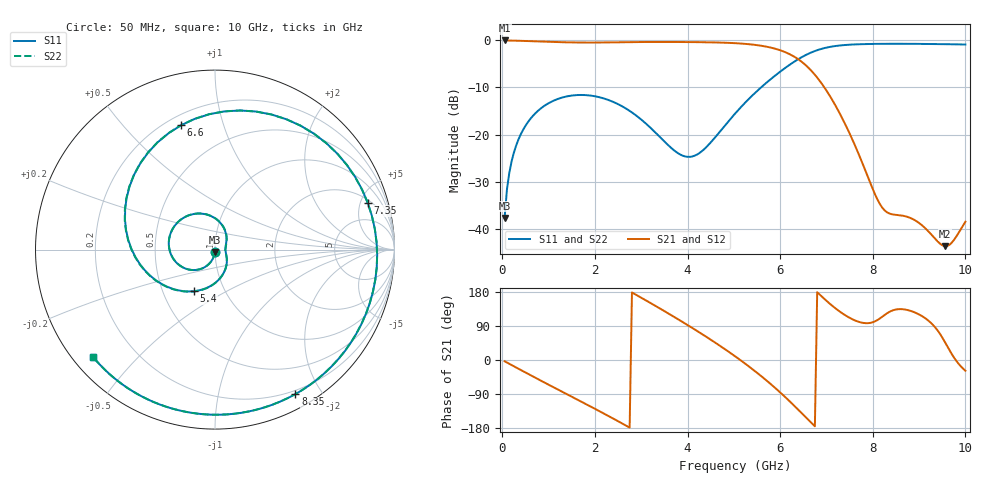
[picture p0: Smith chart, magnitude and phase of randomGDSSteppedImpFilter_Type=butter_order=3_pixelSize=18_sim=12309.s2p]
! freq	dB(S11)	phase(S11)	dB(S12)	phase(S12)
!  dB(S21)	phase(S21)	dB(S22)	phase(S22)
!S-par simulation data
#  GHz  S  DB  R 50
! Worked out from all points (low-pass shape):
!   200 points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, 50 MHz to 10 GHz, reference 50 ohm
!   highest |S21| = 0.00 dB at 50 MHz (marker M1); lowest = -43.7 dB at 9.55 GHz (marker M2)
!   |S21| within 3 dB of the highest: start of sweep to 6.222 GHz
!   lowest |S11| = -37.7 dB at 50 MHz (marker M3), VSWR 1.03, Z = 49.9 - j1.3 ohm
!   |S11| at or under -10 dB: start of sweep to 5.586 GHz
!   |S22| runs from -37.7 to -0.7 dB; largest |S21 - S12| = 0
!   S11 on the Smith chart (normalised r, x): 50 MHz: 1.00, -0.03; 5.4 GHz: 0.72, -0.36; 6.6 GHz: 0.26, +0.73; 7.35 GHz: 2.30, +5.78; 8.35 GHz: 0.16, -1.69; 10 GHz: 0.06, -0.38
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0.05  -37.71 -93.0  -0.00 -3.4  -0.00 -3.4  -37.71 -93.0
0.2  -25.74 -103.3  -0.03 -13.3  -0.03 -13.3  -25.74 -103.4
0.5  -18.14 -123.3  -0.11 -32.9  -0.11 -32.9  -18.15 -123.4
1.15  -12.62 -165.2  -0.34 -74.7  -0.34 -74.7  -12.62 -165.4
1.75  -11.59 156.9  -0.45 -112.7  -0.45 -112.7  -11.59 156.6
2.65  -14.35 98.7  -0.37 -171.6  -0.37 -171.6  -14.35 98.1
3.4  -20.49 47.7  -0.32 136.2  -0.32 136.2  -20.49 46.4
4.2  -24.28 -12.0  -0.36 77.2  -0.36 77.2  -24.27 -13.2
4.6  -20.55 -45.2  -0.42 45.7  -0.42 45.7  -20.54 -45.5
5.05  -15.29 -84.3  -0.59 7.8  -0.59 7.8  -15.28 -83.9
5.4  -11.69 -117.0  -0.88 -24.0  -0.88 -24.0  -11.69 -116.5
6  -6.64 179.5  -2.08 -85.5  -2.08 -85.5  -6.64 -179.9
6.3  -4.55 143.4  -3.43 -120.2  -3.43 -120.2  -4.55 143.9
6.6  -2.87 105.1  -5.70 -156.8  -5.70 -156.8  -2.88 105.5
6.7  -2.44 92.3  -6.73 -169.0  -6.73 -169.0  -2.44 92.6
7  -1.52 55.3  -10.65 156.2  -10.65 156.2  -1.53 55.4
7.35  -1.01 17.1  -16.72 122.5  -16.72 122.5  -1.02 17.1
7.75  -0.80 -19.0  -25.45 98.9  -25.45 98.9  -0.80 -19.0
8.35  -0.71 -60.9  -36.74 126.4  -36.74 126.4  -0.71 -61.0
8.9  -0.72 -90.9  -38.16 125.9  -38.16 125.9  -0.73 -91.0
9.55  -0.79 -120.4  -43.72 49.2  -43.72 49.2  -0.79 -120.5
10  -0.86 -138.5  -38.52 -28.3  -38.52 -28.3  -0.86 -138.6
